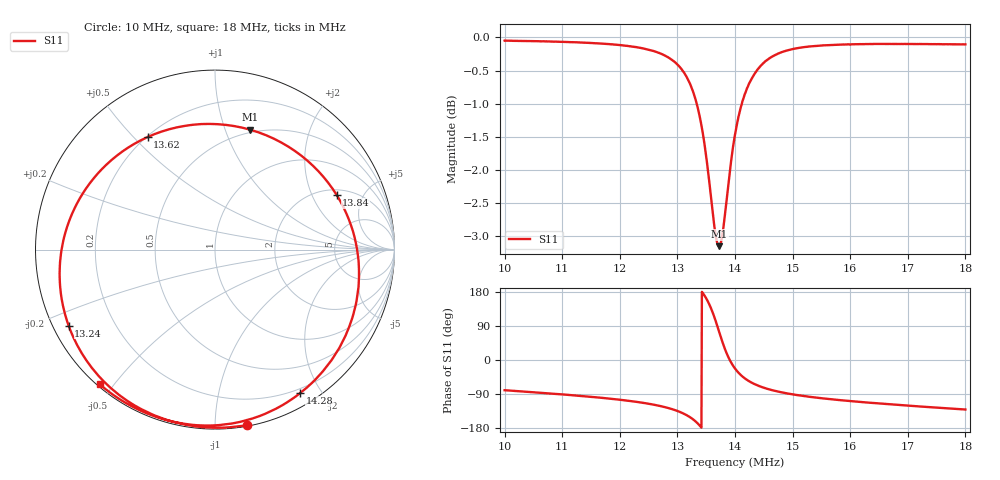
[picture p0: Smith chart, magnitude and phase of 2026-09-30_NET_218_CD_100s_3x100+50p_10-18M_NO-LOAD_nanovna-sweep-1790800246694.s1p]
! NanoVNA Web complex sweep
! Processing: unaveraged complex samples; linear segment spacing; no smoothing
# Hz S RI R 50
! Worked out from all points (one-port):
!   1010 points, 10 MHz to 18 MHz, reference 50 ohm
!   lowest |S11| = -3.1 dB at 13.73 MHz (marker M1), VSWR 5.58, Z = 23.6 + j61.2 ohm
!   |S11| at or under -10 dB: nowhere
!   S11 on the Smith chart (normalised r, x): 10 MHz: 0.01, -1.20; 13.24 MHz: 0.04, -0.24; 13.62 MHz: 0.20, +0.55; 13.84 MHz: 2.27, +3.10; 14.28 MHz: 0.15, -1.75; 18 MHz: 0.01, -0.46
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1e7  0.177 -0.9784
1.100698e7  -0.0142 -0.9921
1.200604e7  -0.2543 -0.9534
1.261657e7  -0.4688 -0.8556
1.283065e7  -0.5717 -0.7792
1.300509e7  -0.6715 -0.6768
1.313196e7  -0.7518 -0.5612
1.323503e7  -0.8154 -0.4238
1.335397e7  -0.864 -0.1907
1.346497e7  -0.8247 0.1245
1.354426e7  -0.6784 0.3939
1.358391e7  -0.5483 0.5223
1.362355e7  -0.376 0.6268
1.367906e7  -0.0772 0.6993
1.372663e7  0.1972 0.6675
1.378213e7  0.4807 0.5234
1.383764e7  0.6774 0.305
1.3909e7  0.7915 0.00113
1.400414e7  0.7775 -0.3345
1.406758e7  0.7183 -0.4971
1.413101e7  0.6467 -0.6195
1.428166e7  0.476 -0.7985
1.455918e7  0.2327 -0.933
1.50032e7  -0.0123 -0.9798
1.545515e7  -0.1724 -0.9704
1.600225e7  -0.3116 -0.9369
1.700131e7  -0.5002 -0.8527
1.800036e7  -0.6435 -0.7495
